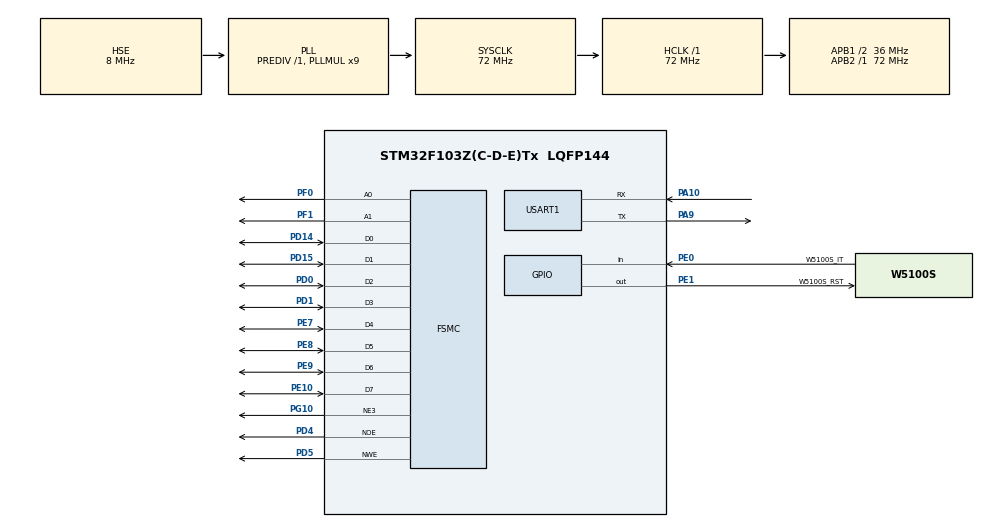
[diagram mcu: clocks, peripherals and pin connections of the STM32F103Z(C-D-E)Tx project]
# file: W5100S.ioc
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FSMC.AddressSetupTime1=10
FSMC.BusTurnAroundDuration1=5
FSMC.DataSetupTime1=26
FSMC.WriteOperation1=FSMC_WRITE_OPERATION_ENABLE
Mcu.Family=STM32F1
Mcu.Name=STM32F103Z(C-D-E)Tx
Mcu.Package=LQFP144
NVIC.PriorityGroup=NVIC_PRIORITYGROUP_4
OSC_IN.Mode=HSE-External-Oscillator
OSC_IN.Signal=RCC_OSC_IN
OSC_OUT.Mode=HSE-External-Oscillator
OSC_OUT.Signal=RCC_OSC_OUT
PA10.Mode=Asynchronous
PA10.Signal=USART1_RX
PA13.Mode=Serial_Wire
PA13.Signal=SYS_JTMS-SWDIO
PA14.Mode=Serial_Wire
PA14.Signal=SYS_JTCK-SWCLK
PA9.Mode=Asynchronous
PA9.Signal=USART1_TX
PD0.Signal=FSMC_D2_DA2
PD1.Signal=FSMC_D3_DA3
PD14.Signal=FSMC_D0_DA0
PD15.Signal=FSMC_D1_DA1
PD4.Signal=FSMC_NOE
PD5.Signal=FSMC_NWE
PE0.GPIO_Label=W5100S_IT
PE0.GPIO_PuPd=GPIO_PULLUP
PE0.Signal=GPIO_Input
PE1.GPIO_Label=W5100S_RST
PE1.GPIO_PuPd=GPIO_PULLUP
PE1.PinState=GPIO_PIN_SET
PE1.Signal=GPIO_Output
PE10.Signal=FSMC_D7_DA7
PE7.Signal=FSMC_D4_DA4
PE8.Signal=FSMC_D5_DA5
PE9.Signal=FSMC_D6_DA6
PF0.Signal=FSMC_A0
PF1.Signal=FSMC_A1
PG10.Mode=NorPsramChipSelect3_1
PG10.Signal=FSMC_NE3
ProjectManager.HeapSize=0x200
ProjectManager.StackSize=0x400
ProjectManager.TargetToolchain=Makefile
RCC.AHBFreq_Value=72000000
RCC.APB1CLKDivider=RCC_HCLK_DIV2
RCC.APB1Freq_Value=36000000
RCC.APB1TimFreq_Value=72000000
RCC.APB2Freq_Value=72000000
RCC.APB2TimFreq_Value=72000000
RCC.HCLKFreq_Value=72000000
RCC.PLLMUL=RCC_PLL_MUL9
RCC.PLLSourceVirtual=RCC_PLLSOURCE_HSE
RCC.SYSCLKFreq_VALUE=72000000
RCC.SYSCLKSource=RCC_SYSCLKSOURCE_PLLCLK
RCC.USBFreq_Value=72000000
SH.FSMC_A0.0=FSMC_A0,2b-a1
SH.FSMC_A1.0=FSMC_A1,2b-a1
SH.FSMC_D0_DA0.0=FSMC_D0,8b-d1
SH.FSMC_D1_DA1.0=FSMC_D1,8b-d1
SH.FSMC_D2_DA2.0=FSMC_D2,8b-d1
SH.FSMC_D3_DA3.0=FSMC_D3,8b-d1
SH.FSMC_D4_DA4.0=FSMC_D4,8b-d1
SH.FSMC_D5_DA5.0=FSMC_D5,8b-d1
SH.FSMC_D6_DA6.0=FSMC_D6,8b-d1
SH.FSMC_D7_DA7.0=FSMC_D7,8b-d1
SH.FSMC_NOE.0=FSMC_NOE,Sram1
SH.FSMC_NWE.0=FSMC_NWE,Sram1
USART1.VirtualMode=VM_ASYNC
board=custom

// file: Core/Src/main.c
/* USER CODE BEGIN Header */
/**
  ******************************************************************************
  * @file           : main.c
  * @brief          : Main program body
  ******************************************************************************
  * @attention
  *
  * Copyright (c) 2026 STMicroelectronics.
  * All rights reserved.
  *
  * This software is licensed under terms that can be found in the LICENSE file
  * in the root directory of this software component.
  * If no LICENSE file comes with this software, it is provided AS-IS.
  *
  ******************************************************************************
  */
/* USER CODE END Header */
#include "main.h"
#include "usart.h"
#include "gpio.h"
#include "fsmc.h"

/* USER CODE BEGIN Includes */
#include <stdio.h>
#include "wizchip_conf.h"
#include "socket.h"
#include "loopback.h"
/* USER CODE END Includes */

/* USER CODE BEGIN PD */
/* Default network configuration: 192.168.<NET_SUBNET>.<host> */
#define NET_SUBNET       50      /* third octet, change this to re-segment   */
#define NET_IP_HOST      254     /* board IP : 192.168.NET_SUBNET.NET_IP_HOST */
#define NET_GW_HOST      1       /* gateway  : 192.168.NET_SUBNET.NET_GW_HOST */
#define NET_DNS_HOST     1       /* dns      : 192.168.NET_SUBNET.NET_DNS_HOST */
#define NET_SUBNET_MASK  {255, 255, 255, 0}
#define NET_MAC_ADDR     {0x00, 0x08, 0xDC, 0x78, 0x91, 0x71}

/* TCP echo server */
#define TCP_ECHO_PORT    50000
#define ETH_MAX_BUF_SIZE 2048
/* USER CODE END PD */

/* USER CODE BEGIN PV */
static wiz_NetInfo g_net_info = {
    .mac  = NET_MAC_ADDR,
    .ip   = {192, 168, NET_SUBNET, NET_IP_HOST},
    .sn   = NET_SUBNET_MASK,
    .gw   = {192, 168, NET_SUBNET, NET_GW_HOST},
    .dns  = {192, 168, NET_SUBNET, NET_DNS_HOST},
    .dhcp = NETINFO_STATIC
};
static uint8_t g_eth_buf[ETH_MAX_BUF_SIZE];
/* USER CODE END PV */

void SystemClock_Config(void);
/* USER CODE BEGIN PFP */
static iodata_t bus_read_byte(uint32_t addr);
static void bus_write_byte(uint32_t addr, iodata_t data);
static void w5100s_hw_reset(void);
static int  w5100s_init(void);
static void print_netinfo(void);
/* USER CODE END PFP */

/* USER CODE BEGIN 0 */
/**
  * @brief printf retarget to USART1 (consumed by syscalls.c _write)
  */
int __io_putchar(int ch)
{
  uint8_t c = (uint8_t)ch;
  HAL_UART_Transmit(&huart1, &c, 1, HAL_MAX_DELAY);
  return ch;
}

/**
  * @brief W5100S bus access callbacks.
  * @note  ADDR[1:0] are wired to FSMC_A0/A1, so accessing base+offset makes
  *        the FSMC output the phase (00=MR, 01=IDM_AR0, 10=IDM_AR1, 11=IDM_DR)
  *        in hardware - plain dereferences are all that is needed.
  */
static iodata_t bus_read_byte(uint32_t addr)
{
  return *(volatile iodata_t *)addr;
}

static void bus_write_byte(uint32_t addr, iodata_t data)
{
  *(volatile iodata_t *)addr = data;
}

/**
  * @brief Hardware reset of W5100S (RST pin, active low).
  */
static void w5100s_hw_reset(void)
{
  HAL_GPIO_WritePin(W5100S_RST_GPIO_Port, W5100S_RST_Pin, GPIO_PIN_RESET);
  HAL_Delay(5);
  HAL_GPIO_WritePin(W5100S_RST_GPIO_Port, W5100S_RST_Pin, GPIO_PIN_SET);
  HAL_Delay(100);
}

/**
  * @brief Register bus callbacks, reset the chip, configure sockets and network.
  * @retval 0 on success, -1 on failure
  */
static int w5100s_init(void)
{
  uint8_t memsize[2][4] = {{2, 2, 2, 2}, {2, 2, 2, 2}};
  intr_kind imr = IK_DEST_UNREACH;
  intr_kind link;

  reg_wizchip_bus_cbfunc(bus_read_byte, bus_write_byte);

  /* This ioLibrary version uses _read_data_buf/_write_data_buf in bus
     indirect mode; they are NULL unless the defaults are registered. */
  reg_wizchip_busbuf_cbfunc(NULL, NULL);

  w5100s_hw_reset();

  if (ctlwizchip(CW_INIT_WIZCHIP, (void *)memsize) == -1)
  {
    printf("W5100S init failed\r\n");
    return -1;
  }
  if (ctlwizchip(CW_SET_INTRMASK, &imr) == -1)
  {
    printf("W5100S set interrupt mask failed\r\n");
    return -1;
  }

  ctlnetwork(CN_SET_NETINFO, (void *)&g_net_info);

  do
  { /* wait for PHY link up */
    if (ctlwizchip(CW_GET_PHYLINK, (void *)&link) == -1)
    {
      printf("PHY link status unknown\r\n");
      return -1;
    }
  } while (link == PHY_LINK_OFF);

  return 0;
}

/**
  * @brief Print the current network configuration over USART1.
  */
static void print_netinfo(void)
{
  wiz_NetInfo info;

  ctlnetwork(CN_GET_NETINFO, (void *)&info);
  printf("MAC address: %02x:%02x:%02x:%02x:%02x:%02x\r\n",
         info.mac[0], info.mac[1], info.mac[2], info.mac[3], info.mac[4], info.mac[5]);
  printf("IP address : %d.%d.%d.%d\r\n", info.ip[0], info.ip[1], info.ip[2], info.ip[3]);
  printf("Subnet mask: %d.%d.%d.%d\r\n", info.sn[0], info.sn[1], info.sn[2], info.sn[3]);
  printf("Gateway    : %d.%d.%d.%d\r\n", info.gw[0], info.gw[1], info.gw[2], info.gw[3]);
  printf("DNS server : %d.%d.%d.%d\r\n", info.dns[0], info.dns[1], info.dns[2], info.dns[3]);
}
/* USER CODE END 0 */

int main(void)
{

  /* MCU Configuration--------------------------------------------------------*/

  /* Reset of all peripherals, Initializes the Flash interface and the Systick. */
  HAL_Init();

  /* Configure the system clock */
  SystemClock_Config();

  /* Initialize all configured peripherals */
  MX_GPIO_Init();
  MX_FSMC_Init();
  MX_USART1_UART_Init();
  /* USER CODE BEGIN 2 */
  if (w5100s_init() != 0)
  {
    Error_Handler();
  }
  print_netinfo();
  /* USER CODE END 2 */

  /* Infinite loop */
  /* USER CODE BEGIN WHILE */
  while (1)
  {
    loopback_tcps(0, g_eth_buf, TCP_ECHO_PORT);
    /* USER CODE END WHILE */

  }
}

void SystemClock_Config(void)
{
  RCC_OscInitTypeDef RCC_OscInitStruct = {0};
  RCC_ClkInitTypeDef RCC_ClkInitStruct = {0};

  /** Initializes the RCC Oscillators according to the specified parameters
  * in the RCC_OscInitTypeDef structure.
  */
  RCC_OscInitStruct.OscillatorType = RCC_OSCILLATORTYPE_HSE;
  RCC_OscInitStruct.HSEState = RCC_HSE_ON;
  RCC_OscInitStruct.HSEPredivValue = RCC_HSE_PREDIV_DIV1;
  RCC_OscInitStruct.HSIState = RCC_HSI_ON;
  RCC_OscInitStruct.PLL.PLLState = RCC_PLL_ON;
  RCC_OscInitStruct.PLL.PLLSource = RCC_PLLSOURCE_HSE;
  RCC_OscInitStruct.PLL.PLLMUL = RCC_PLL_MUL9;
  if (HAL_RCC_OscConfig(&RCC_OscInitStruct) != HAL_OK)
  {
    Error_Handler();
  }

  /** Initializes the CPU, AHB and APB buses clocks
  */
  RCC_ClkInitStruct.ClockType = RCC_CLOCKTYPE_HCLK|RCC_CLOCKTYPE_SYSCLK
                              |RCC_CLOCKTYPE_PCLK1|RCC_CLOCKTYPE_PCLK2;
  RCC_ClkInitStruct.SYSCLKSource = RCC_SYSCLKSOURCE_PLLCLK;
  RCC_ClkInitStruct.AHBCLKDivider = RCC_SYSCLK_DIV1;
  RCC_ClkInitStruct.APB1CLKDivider = RCC_HCLK_DIV2;
  RCC_ClkInitStruct.APB2CLKDivider = RCC_HCLK_DIV1;

  if (HAL_RCC_ClockConfig(&RCC_ClkInitStruct, FLASH_LATENCY_2) != HAL_OK)
  {
    Error_Handler();
  }
}

void Error_Handler(void)
{
  __disable_irq();
  while (1)
  {
  }
}
